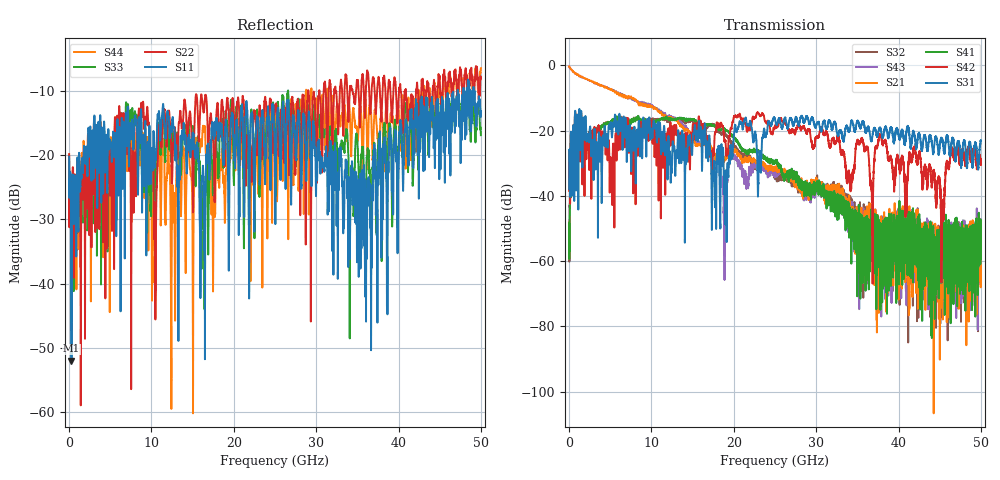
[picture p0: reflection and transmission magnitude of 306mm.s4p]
!Agilent Technologies,N5245A,MY51251349,A.09.33.09
!Agilent N5245A: A.09.33.09
!Date: Tuesday, September 29, 2020 11:26:29
!Correction: S11(Full 4 Port(1,2,3,4))
!S12(Full 4 Port(1,2,3,4))
!S13(Full 4 Port(1,2,3,4))
!S14(Full 4 Port(1,2,3,4))
!S21(Full 4 Port(1,2,3,4))
!S22(Full 4 Port(1,2,3,4))
!S23(Full 4 Port(1,2,3,4))
!S24(Full 4 Port(1,2,3,4))
!S31(Full 4 Port(1,2,3,4))
!S32(Full 4 Port(1,2,3,4))
!S33(Full 4 Port(1,2,3,4))
!S34(Full 4 Port(1,2,3,4))
!S41(Full 4 Port(1,2,3,4))
!S42(Full 4 Port(1,2,3,4))
!S43(Full 4 Port(1,2,3,4))
!S44(Full 4 Port(1,2,3,4))
!S4P File: Measurements: <S11,S12,S13,S14>,
!<S21,S22,S23,S24>,
!<S31,S32,S33,S34>,
!<S41,S42,S43,S44>:
# Hz S  dB  R 50
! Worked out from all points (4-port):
!   6401 points, 10 MHz to 50 GHz, reference 50 ohm
!   strongest paths, dB at 10 MHz, 12.51 GHz, 25 GHz, 37.5 GHz, 50 GHz:
!     S31: -37.9, -30.3, -16.6, -20.9, -23.2
!     S42: -38.5, -19.3, -18.8, -23.7, -30.6
!     S41: -53.5, -16.5, -29.6, -61.9, -53.0
!     S21: -0.3, -16.2, -32.1, -45.9, -50.6
!     S43: -0.5, -16.3, -33.1, -50.7, -57.4
!     S32: -48.5, -16.6, -34.3, -50.8, -62.0
!   lowest |S11| = -52.0 dB at 299 MHz (marker M1), VSWR 1.01, Z = 49.8 + j0.134 ohm
!   |S11| at or under -10 dB: start of sweep to 47.18 GHz; 47.2 GHz to 47.87 GHz (673 MHz wide, 1.42 % of centre); 49.13 GHz to end of sweep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
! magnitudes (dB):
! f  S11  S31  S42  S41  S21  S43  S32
! 10 MHz  -20.3  -37.9  -38.5  -53.5  -0.3  -0.5  -48.5
! 299 MHz  -52.0  -25.3  -24.9  -35.3  -1.4  -1.3  -34.6
! 17.46 GHz  -16.7  -33.9  -25.7  -18.3  -26.2  -28.1  -18.1
! 36.74 GHz  -34.4  -23.2  -38.1  -53.7  -44.2  -49.8  -46.9
! 37.78 GHz  -22.0  -19.2  -21.3  -54.1  -50.1  -53.4  -63.1
! 45.34 GHz  -14.7  -22.9  -44.9  -56.0  -71.7  -59.9  -54.7
! 50 GHz  -13.2  -23.2  -30.6  -53.0  -50.6  -57.4  -62.0
